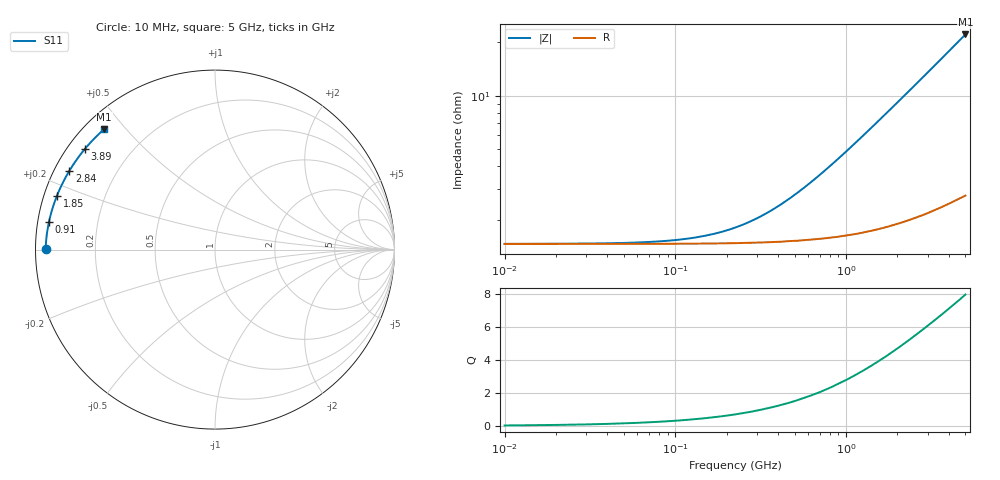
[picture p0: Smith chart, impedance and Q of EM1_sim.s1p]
! Touchstone Ver. 1.0
! Number of ports is 1
# Hz	S	RI	R	50.000000
! SCATTERING PARAMETERS  :
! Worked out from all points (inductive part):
!   500 points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, 10 MHz to 5 GHz, reference 50 ohm
!   read as one part to ground: L = 718 pH near 1.1 GHz
!   highest Q = 7.99 at 5 GHz (marker M1), where L = 698 pH
!   S11 on the Smith chart (normalised r, x): 10 MHz: 0.03, +0.00; 910 MHz: 0.03, +0.08; 1.85 GHz: 0.04, +0.17; 2.84 GHz: 0.04, +0.25; 3.89 GHz: 0.05, +0.34; 5 GHz: 0.05, +0.44
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1e7  -0.943 0.00176
3e7  -0.9429 0.00529
1.7e8  -0.9422 0.0299
3.2e8  -0.9403 0.0561
5.1e8  -0.9366 0.0886
6.4e8  -0.9334 0.1106
7.4e8  -0.9305 0.1273
9.1e8  -0.9249 0.1553
1.08e9  -0.9185 0.1829
1.26e9  -0.9108 0.2115
1.4e9  -0.9042 0.2334
1.55e9  -0.8966 0.2565
1.85e9  -0.8799 0.3014
1.89e9  -0.8775 0.3073
2.19e9  -0.8587 0.3504
2.51e9  -0.8366 0.3945
2.68e9  -0.8242 0.4172
2.84e9  -0.812 0.4381
3.13e9  -0.789 0.4746
3.44e9  -0.763 0.512
3.76e9  -0.7349 0.5485
3.89e9  -0.7231 0.5628
4.14e9  -0.7001 0.5894
4.38e9  -0.6774 0.6138
4.56e9  -0.66 0.6314
4.73e9  -0.6435 0.6475
4.98e9  -0.6187 0.6701
5e9  -0.6167 0.6719
